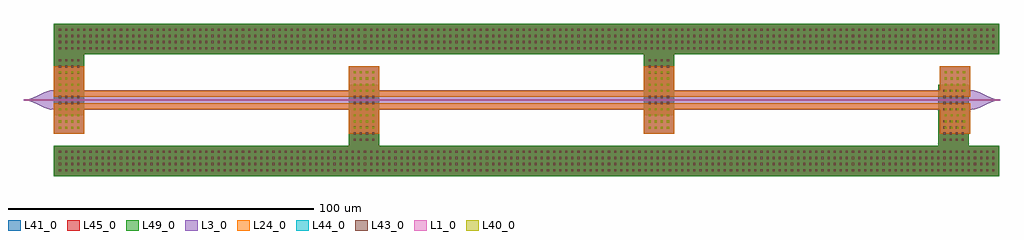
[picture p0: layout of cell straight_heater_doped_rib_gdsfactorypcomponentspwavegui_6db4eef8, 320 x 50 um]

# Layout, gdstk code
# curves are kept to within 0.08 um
import gdstk
lib = gdstk.Library(unit=1e-6, precision=1e-09)
def R(c, l, rs):  # rectangles x0, y0, x1, y1
    for r in rs: c.add(gdstk.rectangle(r[:2], r[2:], *l))
def A(c, l, x, y, w, h, nx, ny, dx, dy):  # array of equal rectangles
    R(c, l, [(x+i*dx, y+j*dy, x+i*dx+w, y+j*dy+h) for i in range(nx) for j in range(ny)])
def P(c, l, *ps):  # polygons
    for p in ps: c.add(gdstk.Polygon(p, *l))
L1_0 = (1, 0)
L3_0 = (3, 0)
L24_0 = (24, 0)
L40_0 = (40, 0)
L41_0 = (41, 0)
L43_0 = (43, 0)
L44_0 = (44, 0)
L45_0 = (45, 0)
L49_0 = (49, 0)

straight_heater_doped_ri = lib.new_cell('straight_heater_doped_rib_gdsfactorypcomponentspwavegui_6db4eef8')
R(straight_heater_doped_ri, L1_0, [(-10,-0.25,310,0.25)])
P(straight_heater_doped_ri, L3_0, [(-0.2,-11.05),(-0.2,-3.247),(-1.313,-3.118),(-2.626,-2.744),(-7.778,-0.468),(-8.889,-0.195),(-10,-0.1),(-10,0.1),(-8.687,0.232),(-7.172,0.682),(-2.424,2.815),(-1.313,3.118),(-0.2,3.247),(-0.2,11.05),(9.8,11.05),(9.8,3.25),(96.467,3.25),(96.467,11.05),(106.467,11.05),(106.467,3.25),(193.134,3.25),(193.134,11.05),(203.134,11.05),(203.134,3.25),(290.201,3.25),(290.201,11.05),(300.201,11.05),(300.201,3.247),(301.313,3.118),(302.626,2.744),(307.778,0.468),(308.889,0.195),(310,0.1),(310,-0.1),(308.687,-0.232),(307.172,-0.682),(302.424,-2.815),(301.313,-3.118),(300.201,-3.247),(300.201,-11.05),(290.201,-11.05),(290.201,-3.25),(203.134,-3.25),(203.134,-11.05),(193.134,-11.05),(193.134,-3.25),(106.467,-3.25),(106.467,-11.05),(96.467,-11.05),(96.467,-3.25),(9.8,-3.25),(9.8,-11.05)])
P(straight_heater_doped_ri, L24_0, [(-0.2,-11.05),(-0.2,-1.05),(300.201,-1.05),(300.201,-11.05),(290.201,-11.05),(290.201,-3.05),(203.134,-3.05),(203.134,-11.05),(193.134,-11.05),(193.134,-3.05),(106.467,-3.05),(106.467,-11.05),(96.467,-11.05),(96.467,-3.05),(9.8,-3.05),(9.8,-11.05)],
  [(-0.2,1.05),(-0.2,11.05),(9.8,11.05),(9.8,3.05),(96.467,3.05),(96.467,11.05),(106.467,11.05),(106.467,3.05),(193.134,3.05),(193.134,11.05),(203.134,11.05),(203.134,3.05),(290.201,3.05),(290.201,11.05),(300.201,11.05),(300.201,1.05)])
A(straight_heater_doped_ri, L40_0, 1.45, -9.4, 0.7, 0.7, 4, 4, 2, 2)
A(straight_heater_doped_ri, L40_0, 98.117, -9.4, 0.7, 0.7, 4, 4, 2, 2)
A(straight_heater_doped_ri, L40_0, 194.784, -9.4, 0.7, 0.7, 4, 4, 2, 2)
A(straight_heater_doped_ri, L40_0, 291.851, -9.4, 0.7, 0.7, 4, 4, 2, 2)
A(straight_heater_doped_ri, L40_0, 1.45, 2.7, 0.7, 0.7, 4, 4, 2, 2)
A(straight_heater_doped_ri, L40_0, 98.117, 2.7, 0.7, 0.7, 4, 4, 2, 2)
A(straight_heater_doped_ri, L40_0, 194.784, 2.7, 0.7, 0.7, 4, 4, 2, 2)
A(straight_heater_doped_ri, L40_0, 291.851, 2.7, 0.7, 0.7, 4, 4, 2, 2)
P(straight_heater_doped_ri, L41_0, [(-0.2,-25),(-0.2,-15),(96.467,-15),(96.467,11.05),(106.467,11.05),(106.467,-15),(289.801,-15),(289.801,5),(290.201,5),(290.201,11.05),(300.201,11.05),(300.201,1.05),(299.801,1.05),(299.801,-1.05),(300.201,-1.05),(300.201,-11.05),(299.801,-11.05),(299.801,-15),(309.8,-15),(309.8,-25)],
  [(-0.2,-11.05),(-0.2,25),(309.8,25),(309.8,15),(203.134,15),(203.134,-11.05),(193.134,-11.05),(193.134,15),(9.8,15),(9.8,-11.05)])
A(straight_heater_doped_ri, L43_0, 1.45, -23.35, 0.7, 0.7, 154, 4, 2, 2)
A(straight_heater_doped_ri, L43_0, 98.117, -13.35, 0.7, 0.7, 4, 4, 2, 2)
A(straight_heater_doped_ri, L43_0, 291.451, -13.35, 0.7, 0.7, 4, 4, 2, 2)
A(straight_heater_doped_ri, L43_0, 1.45, -3.35, 0.7, 0.7, 4, 4, 2, 2)
A(straight_heater_doped_ri, L43_0, 98.117, -3.35, 0.7, 0.7, 4, 4, 2, 2)
A(straight_heater_doped_ri, L43_0, 194.784, -3.35, 0.7, 0.7, 4, 4, 2, 2)
A(straight_heater_doped_ri, L43_0, 291.451, -3.35, 0.7, 0.7, 4, 4, 2, 2)
A(straight_heater_doped_ri, L43_0, 1.45, 6.65, 0.7, 0.7, 4, 4, 2, 2)
A(straight_heater_doped_ri, L43_0, 194.784, 6.65, 0.7, 0.7, 4, 4, 2, 2)
A(straight_heater_doped_ri, L43_0, 1.45, 16.65, 0.7, 0.7, 154, 4, 2, 2)
A(straight_heater_doped_ri, L44_0, 1.45, -23.35, 0.7, 0.7, 154, 4, 2, 2)
A(straight_heater_doped_ri, L44_0, 98.117, -13.35, 0.7, 0.7, 4, 4, 2, 2)
A(straight_heater_doped_ri, L44_0, 291.451, -13.35, 0.7, 0.7, 4, 4, 2, 2)
A(straight_heater_doped_ri, L44_0, 1.45, -3.35, 0.7, 0.7, 4, 4, 2, 2)
A(straight_heater_doped_ri, L44_0, 98.117, -3.35, 0.7, 0.7, 4, 4, 2, 2)
A(straight_heater_doped_ri, L44_0, 194.784, -3.35, 0.7, 0.7, 4, 4, 2, 2)
A(straight_heater_doped_ri, L44_0, 291.451, -3.35, 0.7, 0.7, 4, 4, 2, 2)
A(straight_heater_doped_ri, L44_0, 1.45, 6.65, 0.7, 0.7, 4, 4, 2, 2)
A(straight_heater_doped_ri, L44_0, 194.784, 6.65, 0.7, 0.7, 4, 4, 2, 2)
A(straight_heater_doped_ri, L44_0, 1.45, 16.65, 0.7, 0.7, 154, 4, 2, 2)
P(straight_heater_doped_ri, L45_0, [(-0.2,-25),(-0.2,-15),(96.467,-15),(96.467,5),(106.467,5),(106.467,-15),(289.801,-15),(289.801,5),(299.801,5),(299.801,-15),(309.8,-15),(309.8,-25)],
  [(-0.2,-5),(-0.2,25),(309.8,25),(309.8,15),(203.134,15),(203.134,-5),(193.134,-5),(193.134,15),(9.8,15),(9.8,-5)])
P(straight_heater_doped_ri, L49_0, [(-0.2,-25),(-0.2,-15),(96.467,-15),(96.467,5),(106.467,5),(106.467,-15),(289.801,-15),(289.801,5),(299.801,5),(299.801,-15),(309.8,-15),(309.8,-25)],
  [(-0.2,-5),(-0.2,25),(309.8,25),(309.8,15),(203.134,15),(203.134,-5),(193.134,-5),(193.134,15),(9.8,15),(9.8,-5)])

lib.write_gds('straight_heater_doped_rib_gdsfactorypcomponentspwavegui_6db4eef8.gds')
